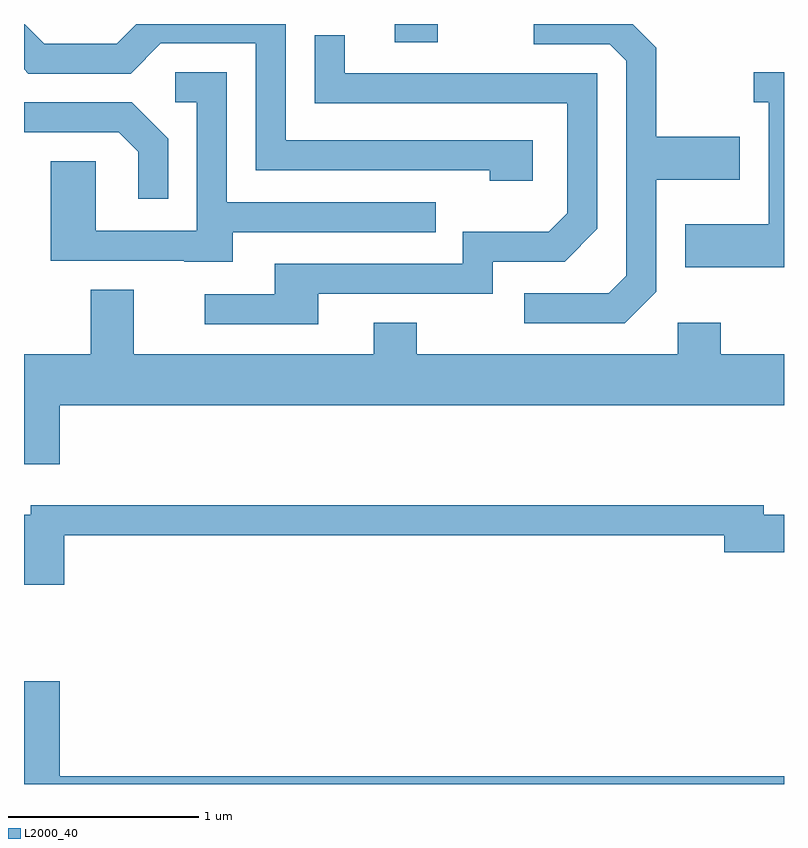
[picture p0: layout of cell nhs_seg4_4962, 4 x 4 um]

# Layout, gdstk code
import gdstk
lib = gdstk.Library(unit=1e-6, precision=1e-09)
def R(c, l, rs):  # rectangles x0, y0, x1, y1
    for r in rs: c.add(gdstk.rectangle(r[:2], r[2:], *l))
def P(c, l, *ps):  # polygons
    for p in ps: c.add(gdstk.Polygon(p, *l))
L2000_40 = (2000, 40)

nhs_seg4_4962 = lib.new_cell('nhs_seg4_4962')
R(nhs_seg4_4962, L2000_40, [(331.561,1389.886,331.789,1389.982)])
P(nhs_seg4_4962, L2000_40, [(332.289,1389.369),(330.989,1389.369),(330.989,1389.982),(330.202,1389.982),(330.099,1389.879),(329.717,1389.879),(329.614,1389.982),(329.611,1389.982),(329.611,1389.744),(329.634,1389.721),(330.172,1389.721),(330.332,1389.881),(330.831,1389.881),(330.831,1389.211),(332.061,1389.211),(332.061,1389.156),(332.289,1389.156)],
  [(332.939,1388.574),(332.939,1389.161),(333.379,1389.161),(333.379,1389.389),(332.939,1389.389),(332.939,1389.857),(332.814,1389.982),(332.293,1389.982),(332.293,1389.876),(332.694,1389.876),(332.781,1389.789),(332.781,1388.657),(332.689,1388.564),(332.243,1388.564),(332.243,1388.406),(332.772,1388.406)],
  [(331.159,1388.561),(332.079,1388.561),(332.079,1388.731),(332.457,1388.731),(332.629,1388.904),(332.629,1389.724),(331.299,1389.724),(331.299,1389.923),(331.141,1389.923),(331.141,1389.566),(332.471,1389.566),(332.471,1388.987),(332.374,1388.889),(331.921,1388.889),(331.921,1388.719),(330.931,1388.719),(330.931,1388.559),(330.563,1388.559),(330.563,1388.401),(331.159,1388.401)],
  [(330.709,1388.886),(331.778,1388.886),(331.778,1389.044),(330.679,1389.044),(330.679,1389.729),(330.408,1389.729),(330.408,1389.571),(330.521,1389.571),(330.521,1388.894),(329.989,1388.894),(329.989,1389.259),(329.751,1389.259),(329.751,1388.736),(330.455,1388.736),(330.455,1388.731),(330.709,1388.731)],
  [(333.611,1389.729),(333.453,1389.729),(333.453,1389.571),(333.531,1389.571),(333.531,1388.929),(333.091,1388.929),(333.091,1388.701),(333.611,1388.701)],
  [(330.369,1389.377),(330.177,1389.569),(329.611,1389.569),(329.611,1389.411),(330.109,1389.411),(330.211,1389.309),(330.211,1389.063),(330.369,1389.063)],
  [(329.799,1387.976),(333.611,1387.976),(333.611,1388.244),(333.279,1388.244),(333.279,1388.409),(333.051,1388.409),(333.051,1388.244),(331.679,1388.244),(331.679,1388.409),(331.451,1388.409),(331.451,1388.244),(330.189,1388.244),(330.189,1388.584),(329.961,1388.584),(329.961,1388.244),(329.611,1388.244),(329.611,1387.666),(329.799,1387.666)],
  [(329.824,1387.291),(333.296,1387.291),(333.296,1387.201),(333.611,1387.201),(333.611,1387.399),(333.504,1387.399),(333.504,1387.449),(329.646,1387.449),(329.646,1387.399),(329.611,1387.399),(329.611,1387.031),(329.824,1387.031)],
  [(333.611,1386.024),(329.799,1386.024),(329.799,1386.524),(329.611,1386.524),(329.611,1385.982),(333.611,1385.982)])

lib.write_gds('nhs_seg4_4962.gds')
